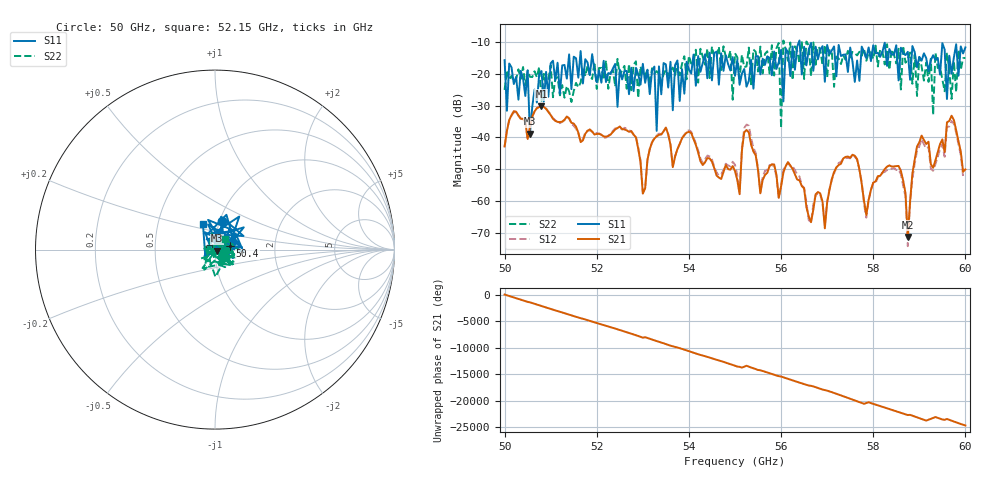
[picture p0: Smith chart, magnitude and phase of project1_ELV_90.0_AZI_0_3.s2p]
! 10/29/2026 4:24:34 PM
! C:\ANRITSUVNA\TEMP\TEMP.S2P
! CHANNEL.1
! TR.MEASUREMENT
! RAW.DATA
# HZ S RI R 50.0
! FREQ.HZ  S11RE  S11IM  S21RE  S21IM  S12RE  S12IM  S22RE  S22IM
!; PortSelection: Port_12
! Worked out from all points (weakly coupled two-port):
!   201 points, 50 GHz to 60 GHz, reference 50 ohm
!   highest |S21| = -30.24 dB at 50.8 GHz (marker M1); lowest = -71.4 dB at 58.75 GHz (marker M2)
!   lowest |S11| = -38.8 dB at 50.55 GHz (marker M3), VSWR 1.02, Z = 50.9 - j0.687 ohm
!   |S11| at or under -10 dB: start of sweep to 56.39 GHz; 56.4 GHz to end of sweep
!   |S22| runs from -37.1 to -9.5 dB; largest |S21 - S12| = 0.048
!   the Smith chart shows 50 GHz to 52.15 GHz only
!   S11 on the Smith chart (normalised r, x): 50 GHz: 1.02, +0.34; 50.4 GHz: 1.18, +0.05; 52.15 GHz: 0.84, +0.25
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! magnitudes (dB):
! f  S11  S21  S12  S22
! 50 GHz  -15.7  -42.8  -42.9  -25.1
! 50.4 GHz  -21.4  -34.1  -34.2  -17.9
! 50.55 GHz  -38.8  -36.8  -36.9  -20.9
! 50.8 GHz  -19.1  -30.2  -30.2  -28.4
! 51.7 GHz  -23.0  -40.9  -40.6  -17.9
! 52.15 GHz  -15.9  -39.7  -40.1  -21.9
! 53 GHz  -16.9  -57.7  -57.2  -20.5
! 53.25 GHz  -17.7  -40.4  -40.3  -19.9
! 53.3 GHz  -38.0  -39.7  -39.4  -19.2
! 53.35 GHz  -17.7  -39.2  -38.8  -20.1
! 55 GHz  -20.7  -50.6  -48.6  -13.5
! 55.95 GHz  -16.3  -59.0  -59.1  -10.3
! 56 GHz  -12.5  -55.4  -54.8  -37.1
! 56.05 GHz  -28.7  -51.1  -50.2  -9.5
! 56.1 GHz  -12.1  -49.1  -48.8  -12.3
! 56.7 GHz  -19.0  -62.7  -61.1  -10.1
! 58.35 GHz  -12.2  -48.8  -50.0  -18.7
! 58.75 GHz  -13.1  -71.4  -74.2  -15.4
! 59.05 GHz  -15.8  -39.4  -40.6  -17.7
! 59.3 GHz  -14.1  -49.5  -50.5  -32.9
! 59.35 GHz  -15.6  -47.2  -48.4  -13.4
! 60 GHz  -11.7  -50.1  -51.8  -15.0
